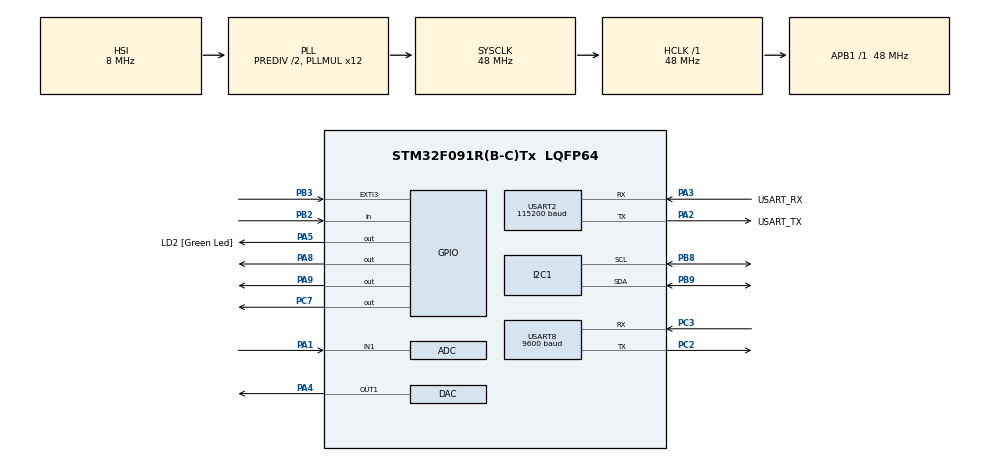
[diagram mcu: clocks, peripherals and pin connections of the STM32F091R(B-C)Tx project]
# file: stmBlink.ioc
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DAC.DAC_OutputBuffer=DAC_OUTPUTBUFFER_DISABLE
DAC.DAC_Trigger=DAC_TRIGGER_T6_TRGO
Dma.DAC_CH1.0.Direction=DMA_MEMORY_TO_PERIPH
Dma.DAC_CH1.0.Instance=DMA1_Channel3
Dma.DAC_CH1.0.MemDataAlignment=DMA_MDATAALIGN_WORD
Dma.DAC_CH1.0.MemInc=DMA_MINC_ENABLE
Dma.DAC_CH1.0.Mode=DMA_NORMAL
Dma.DAC_CH1.0.PeriphDataAlignment=DMA_PDATAALIGN_WORD
Dma.DAC_CH1.0.PeriphInc=DMA_PINC_DISABLE
Dma.DAC_CH1.0.Priority=DMA_PRIORITY_LOW
Dma.Request0=DAC_CH1
I2C1.Timing=0x00201D2B
Mcu.Family=STM32F0
Mcu.Name=STM32F091R(B-C)Tx
Mcu.Package=LQFP64
NVIC.ADC1_COMP_IRQn=true\:0\:0\:false\:false\:true\:true\:true\:true
NVIC.DMA1_Ch2_3_DMA2_Ch1_2_IRQn=true\:0\:0\:false\:false\:true\:false\:true\:true
NVIC.EXTI2_3_IRQn=true\:0\:0\:false\:false\:true\:true\:true\:true
NVIC.I2C1_IRQn=true\:0\:0\:false\:false\:true\:true\:true\:true
NVIC.RTC_IRQn=true\:0\:0\:false\:false\:true\:true\:true\:true
NVIC.TIM14_IRQn=true\:0\:0\:false\:false\:true\:true\:true\:true
NVIC.TIM3_IRQn=true\:0\:0\:false\:false\:true\:true\:true\:true
NVIC.TIM6_DAC_IRQn=true\:0\:0\:false\:false\:true\:true\:true\:true
NVIC.TIM7_IRQn=true\:0\:0\:false\:false\:true\:true\:true\:true
NVIC.USART3_8_IRQn=true\:0\:0\:false\:false\:true\:true\:true\:true
PA0.Mode=SYS_WakeUp0
PA0.Signal=SYS_WKUP1
PA1.Mode=IN1
PA1.Signal=ADC_IN1
PA13.GPIO_Label=TMS
PA13.Mode=Serial_Wire
PA13.Signal=SYS_SWDIO
PA14.GPIO_Label=TCK
PA14.Mode=Serial_Wire
PA14.Signal=SYS_SWCLK
PA2.GPIO_Label=USART_TX
PA2.GPIO_Mode=GPIO_MODE_AF_PP
PA2.GPIO_PuPd=GPIO_NOPULL
PA2.GPIO_Speed=GPIO_SPEED_FREQ_LOW
PA2.Mode=Asynchronous
PA2.Signal=USART2_TX
PA3.GPIO_Label=USART_RX
PA3.GPIO_Mode=GPIO_MODE_AF_PP
PA3.GPIO_PuPd=GPIO_NOPULL
PA3.GPIO_Speed=GPIO_SPEED_FREQ_LOW
PA3.Mode=Asynchronous
PA3.Signal=USART2_RX
PA4.Signal=COMP_DAC1_group
PA5.GPIO_Label=LD2 [Green Led]
PA5.GPIO_Mode=GPIO_MODE_OUTPUT_PP
PA5.GPIO_PuPd=GPIO_NOPULL
PA5.GPIO_Speed=GPIO_SPEED_FREQ_LOW
PA5.Signal=GPIO_Output
PA8.Signal=GPIO_Output
PA9.Signal=GPIO_Output
PB1.Signal=S_TIM14_CH1
PB2.Signal=GPIO_Input
PB3.GPIO_ModeDefaultEXTI=GPIO_MODE_IT_FALLING
PB3.Signal=GPXTI3
PB8.Mode=I2C
PB8.Signal=I2C1_SCL
PB9.Mode=I2C
PB9.Signal=I2C1_SDA
PC13.Signal=RTC_OUT_ALARM
PC14OSC32_IN.Mode=LSE-External-Oscillator
PC14OSC32_IN.Signal=RCC_OSC32_IN
PC15OSC32_OUT.Mode=LSE-External-Oscillator
PC15OSC32_OUT.Signal=RCC_OSC32_OUT
PC2.Mode=Asynchronous
PC2.Signal=USART8_TX
PC3.Mode=Asynchronous
PC3.Signal=USART8_RX
PC7.Signal=GPIO_Output
PF0-OSC_IN.Mode=HSE-External-Clock-Source
PF0-OSC_IN.Signal=RCC_OSC_IN
PF1-OSC_OUT.Signal=RCC_OSC_OUT
ProjectManager.HeapSize=0x200
ProjectManager.StackSize=0x400
ProjectManager.TargetToolchain=STM32CubeIDE
RCC.AHBFreq_Value=48000000
RCC.APB1Freq_Value=48000000
RCC.APB1TimFreq_Value=48000000
RCC.FLatency-AdvancedSettings=FLASH_LATENCY_1
RCC.HCLKFreq_Value=48000000
RCC.PLLDivider=RCC_PREDIV_DIV2
RCC.PLLMUL=RCC_PLL_MUL12
RCC.PREFETCH_ENABLE-AdvancedSettings=1
RCC.SYSCLKFreq_VALUE=48000000
RCC.SYSCLKSource=RCC_SYSCLKSOURCE_PLLCLK
RCC.Usart2ClockSelection=RCC_USART2CLKSOURCE_SYSCLK
RTC.Alarm-Alarm\ A=RTC_ALARM_A
RTC.AlarmMaskDateWeekDay-Alarm\ A=RTC_ALARMMASK_DATEWEEKDAY
RTC.AlarmMaskHours-Alarm\ A=RTC_ALARMMASK_HOURS
RTC.AlarmMaskMinutes-Alarm\ A=RTC_ALARMMASK_MINUTES
RTC.Format=RTC_FORMAT_BIN
RTC.Seconds_A-Alarm\ A=10
SH.COMP_DAC1_group.0=DAC_OUT1,DAC_OUT1
SH.S_TIM14_CH1.0=TIM14_CH1
TIM14.Period=200
TIM3.Period=65535
TIM3.Prescaler=58
TIM6.Period=1
TIM6.Prescaler=625
TIM6.TIM_MasterOutputTrigger=TIM_TRGO_UPDATE
TIM7.Period=40000
USART2.BaudRate=115200
USART2.VirtualMode=VM_ASYNC
USART2.VirtualMode-Asynchronous=VM_ASYNC
USART8.BaudRate=9600
USART8.VirtualMode=VM_ASYNC
VP_RTC_VS_RTC_Activate.Mode=RTC_Enabled
VP_RTC_VS_RTC_Alarm_A_Intern.Mode=Alarm A
VP_RTC_VS_RTC_Calendar.Mode=RTC_Calendar
VP_TIM14_VS_ClockSourceINT.Mode=Enable_Timer
VP_TIM3_VS_ClockSourceINT.Mode=Internal
VP_TIM6_VS_ClockSourceINT.Mode=Enable_Timer
VP_TIM7_VS_ClockSourceINT.Mode=Enable_Timer
board=NUCLEO-F091RC

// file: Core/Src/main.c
/* USER CODE BEGIN Header */
/**
 ******************************************************************************
 * @file           : main.c
 * @brief          : Main program body
 ******************************************************************************
 * @attention
 *
 * Copyright (c) 2024 STMicroelectronics.
 * All rights reserved.
 *
 * This software is licensed under terms that can be found in the LICENSE file
 * in the root directory of this software component.
 * If no LICENSE file comes with this software, it is provided AS-IS.
 *
 ******************************************************************************
 */
/* USER CODE END Header */
#include "main.h"
#include "adc.h"
#include "dac.h"
#include "dma.h"
#include "i2c.h"
#include "rtc.h"
#include "tim.h"
#include "usart.h"
#include "gpio.h"

/* USER CODE BEGIN Includes */
#include "gpio.h"
#include <stdio.h>
#include <string.h>
#include <math.h>
#include <stdlib.h>
//#include "wavetable.h"
/* USER CODE END Includes */

/* USER CODE BEGIN PTD */
typedef enum {
	INIT,
	TRIGGER_MEASUREMENT,
	WAIT_FOR_MEASUREMENT,
	READ_DATA,
	PROCESS_DATA,
	PAUSE,
	IDLE
} State;

State currentState = INIT;

/* USER CODE END PTD */

/* USER CODE BEGIN PD */
#define AHT20_ADDR 0x38 << 1 // AHT20 I2C address (shifted for HAL compatibility)
#define AHT20_DATA_SIZE 6
#define AHT20_STATE_SIZE 1
#define AHT20_Power_ON_Delay_Prescale 72
#define AHT20_Init_Delay_Prescale 7
#define AHT20_Trigger_Measurement_Prescale 58
#define DAC_BUFFER_SIZE 128
/* USER CODE END PD */

/* USER CODE BEGIN PV */

uint8_t data[AHT20_DATA_SIZE];
uint8_t state[AHT20_STATE_SIZE];
volatile uint32_t adcValue = 0;
float temperature, humidity;
int flag = 0;
char rx_buf[22];
char i2c_buf[32];
char buf[5];
char handshakeCmd[] = "AT+DMOCONNECT\r\n";
char configCmd[] = "AT+DMOSETGROUP=0,144.1100,144.1100,0000,4,0000\r\n";
char scanCmd[] = "S+152.1250\r\n";
char setFilter[] = "AT+SETFILTER=0,0,0\r\n";
char expectedResponse[17] = "+DMOCONNECT:0\r\n\0";
char response[17]; // Buffer to store the response
int t_flag = 0;

const uint32_t sine_wave_array[32] = { 2047, 1648, 1264, 910, 600, 345, 156, 39,
		0, 39, 156, 345, 600, 910, 1264, 1648, 2048, 2447, 2831, 3185, 3495,
		3750, 3939, 4056, 4095, 4056, 3939, 3750, 3495, 3185, 2831, 2447 };

int input[] = { 1, 1, 1, 0, 1, 0, 1, 0, 1, 0, 1, 0, 1, 0, 1, 0, 1, 0 };
int i = 0;

/* USER CODE END PV */

void SystemClock_Config(void);
/* USER CODE BEGIN PFP */
static void DRA818V_Init(void);
static void AHT20_Init(void);
static void AHT20_triggerMeasurement(void);
static void AHT20_recieveData(void);
static int AHT20_measurementStatus(void);
static int AHT20_aprsConvert(void);
static void enterSleepMode(void);
static void enterTimedSleep(TIM_HandleTypeDef *htim);
static void transmitMessage(const char *msg);
static void configureTimer(TIM_HandleTypeDef *htim, uint32_t prescaler);

/* USER CODE END PFP */

int main(void)
{

  /* MCU Configuration--------------------------------------------------------*/

  /* Reset of all peripherals, Initializes the Flash interface and the Systick. */
  HAL_Init();

  /* Configure the system clock */
  SystemClock_Config();

  /* Initialize all configured peripherals */
  MX_GPIO_Init();
  MX_DMA_Init();
  MX_USART2_UART_Init();
  MX_ADC_Init();
  MX_I2C1_Init();
  MX_TIM3_Init();
  MX_RTC_Init();
  MX_DAC_Init();
  MX_TIM6_Init();
  MX_USART8_UART_Init();
  MX_TIM14_Init();
  MX_TIM7_Init();

  /* Infinite loop */
  /* USER CODE BEGIN WHILE */

	MX_GPIO_Init();
	MX_USART2_UART_Init();
	MX_ADC_Init();
	MX_I2C1_Init();
	MX_TIM3_Init();
	/* USER CODE BEGIN 2 */

	/* USER CODE END 2 */
	//transmitMessage("\n-----------------------------------\n\r");
	//transmitMessage("Checking Initial Voltage level...\n\r");
	//transmitMessage("-----------------------------------\n\n\r");
	HAL_ADC_Start_IT(&hadc);
	//transmitMessage("Voltage Level = ");
	//sprintf(buf,"%lu\n\r", adcValue);
	//HAL_UART_Transmit(&huart2, (uint8_t*)buf, strlen(buf), 1000);

	//transmitMessage("\n-----------------------------------\n\r");
	//transmitMessage("BEGIN SENSOR FSM\n\r");
	//transmitMessage("-----------------------------------\n\n\r");

	/* Infinite loop */
	/* USER CODE BEGIN WHILE */

	while (1) {
		switch (currentState) {
		case INIT:
			// transmitMessage("Current State: INIT\n\r");

			AHT20_Init();
			currentState = TRIGGER_MEASUREMENT;
			break;

		case TRIGGER_MEASUREMENT:

			// transmitMessage("Current State: TRIGGER_MEASURMENT\n\r");
			HAL_RTC_DeactivateAlarm(&hrtc, RTC_ALARM_A);

			AHT20_triggerMeasurement();

			currentState = WAIT_FOR_MEASUREMENT;
			break;

		case WAIT_FOR_MEASUREMENT:

			// transmitMessage("Current State: WAIT_FOR_MEASUREMENT\n\r");

			if (!AHT20_measurementStatus()) {
				currentState = READ_DATA;
			}
			break;

		case READ_DATA:

			//transmitMessage("Current State: READ_DATA\n\r");

			AHT20_recieveData();
			currentState = PROCESS_DATA;
			break;

		case PROCESS_DATA:

			//transmitMessage("Current State: PROCESS_DATA\n\r");

			if (!AHT20_aprsConvert()) {
				currentState = PAUSE;
			}
			break;

		case PAUSE:

			//transmitMessage("Current State: PAUSE\n\r");
			//transmitMessage("Button Press will change states.\n\r");

			// DRA818V_Init();

			HAL_TIM_Base_Start(&htim6);
			HAL_DAC_Start_DMA(&hdac, DAC_CHANNEL_1, (uint32_t*) sine_wave_array,
					32, DAC_ALIGN_12B_R);

			//HAL_DAC_Start(&hdac, DAC_CHANNEL_1);
			//HAL_TIM_Base_Start_IT(&htim14);

			while (1) {

				//transmitMessage("Begin APRS transmission\r\n");

				while (i < 18) {

					HAL_TIM_Base_Start_IT(&htim7);
					while (flag == 0) {
						asm("nop");
						//do nothing
					}

					i++;

					flag = 0;

				}

				HAL_DAC_Stop_DMA(&hdac, DAC_CHANNEL_1);
				i = 0;
				transmitMessage("DMA off\r\n");
				HAL_Delay(1000);
				HAL_DAC_Start_DMA(&hdac, DAC_CHANNEL_1,
						(uint32_t*) sine_wave_array, 32, DAC_ALIGN_12B_R);
				/* transmitMessage("PTT off\r\n");
				 HAL_GPIO_WritePin(GPIOC, GPIO_PIN_7, GPIO_PIN_SET);
				 HAL_DAC_Stop(&hdac, DAC_CHANNEL_1);
				 HAL_Delay(1000);
				 transmitMessage("PTT on\r\n");
				 HAL_DAC_Start_DMA(&hdac, DAC_CHANNEL_1, (uint32_t*)sine_wave_array, 32, DAC_ALIGN_12B_R);

				 //HAL_GPIO_WritePin(GPIOC, GPIO_PIN_7, GPIO_PIN_RESET);
				 HAL_Delay(500);
				 */
			}

			enterSleepMode();

			currentState = IDLE;

			break;

		case IDLE:

			transmitMessage("Current State: IDLE\n\r");
			MX_RTC_Init();
			transmitMessage("\n-----------------------------------\n\r");
			transmitMessage("\n***********  ATTENTION!  **********\n\r");
			transmitMessage("\nDevice in IDLE will enter standby!\n\r");
			transmitMessage("Button Press will change states.\n\r");
			transmitMessage("\n-----------------------------------\n\n\r");
			enterSleepMode();

			currentState = TRIGGER_MEASUREMENT;

			break;

		default:

			//transmitMessage("Current State: UNHANDLED\n\r");
			enterSleepMode();

			break;
		}

    /* USER CODE END WHILE */

	}
}

void SystemClock_Config(void)
{
  RCC_OscInitTypeDef RCC_OscInitStruct = {0};
  RCC_ClkInitTypeDef RCC_ClkInitStruct = {0};
  RCC_PeriphCLKInitTypeDef PeriphClkInit = {0};

  /** Initializes the RCC Oscillators according to the specified parameters
  * in the RCC_OscInitTypeDef structure.
  */
  RCC_OscInitStruct.OscillatorType = RCC_OSCILLATORTYPE_HSI|RCC_OSCILLATORTYPE_HSI14
                              |RCC_OSCILLATORTYPE_LSI;
  RCC_OscInitStruct.HSIState = RCC_HSI_ON;
  RCC_OscInitStruct.HSI14State = RCC_HSI14_ON;
  RCC_OscInitStruct.HSICalibrationValue = RCC_HSICALIBRATION_DEFAULT;
  RCC_OscInitStruct.HSI14CalibrationValue = 16;
  RCC_OscInitStruct.LSIState = RCC_LSI_ON;
  RCC_OscInitStruct.PLL.PLLState = RCC_PLL_ON;
  RCC_OscInitStruct.PLL.PLLSource = RCC_PLLSOURCE_HSI;
  RCC_OscInitStruct.PLL.PLLMUL = RCC_PLL_MUL12;
  RCC_OscInitStruct.PLL.PREDIV = RCC_PREDIV_DIV2;
  if (HAL_RCC_OscConfig(&RCC_OscInitStruct) != HAL_OK)
  {
    Error_Handler();
  }

  /** Initializes the CPU, AHB and APB buses clocks
  */
  RCC_ClkInitStruct.ClockType = RCC_CLOCKTYPE_HCLK|RCC_CLOCKTYPE_SYSCLK
                              |RCC_CLOCKTYPE_PCLK1;
  RCC_ClkInitStruct.SYSCLKSource = RCC_SYSCLKSOURCE_PLLCLK;
  RCC_ClkInitStruct.AHBCLKDivider = RCC_SYSCLK_DIV1;
  RCC_ClkInitStruct.APB1CLKDivider = RCC_HCLK_DIV1;

  if (HAL_RCC_ClockConfig(&RCC_ClkInitStruct, FLASH_LATENCY_1) != HAL_OK)
  {
    Error_Handler();
  }
  PeriphClkInit.PeriphClockSelection = RCC_PERIPHCLK_USART2|RCC_PERIPHCLK_I2C1
                              |RCC_PERIPHCLK_RTC;
  PeriphClkInit.Usart2ClockSelection = RCC_USART2CLKSOURCE_SYSCLK;
  PeriphClkInit.I2c1ClockSelection = RCC_I2C1CLKSOURCE_HSI;
  PeriphClkInit.RTCClockSelection = RCC_RTCCLKSOURCE_LSI;
  if (HAL_RCCEx_PeriphCLKConfig(&PeriphClkInit) != HAL_OK)
  {
    Error_Handler();
  }
}

/* USER CODE BEGIN 4 */
/* USER CODE BEGIN 4 */
void HAL_UART_TxCpltCallback(UART_HandleTypeDef *huart) {

}

//Timer interrupt callback function
void HAL_TIM_PeriodElapsedCallback(TIM_HandleTypeDef *htim) {

	if (htim->Instance == TIM7) {

		flag = 1;
	}

}

void HAL_DAC_ConvCpltCallbackCh1(DAC_HandleTypeDef *hdac) {

	if (input[i] == 0) {
		// Stop the timer
		//HAL_TIM_Base_Stop(&htim6);

		// Set the new prescaler value
		__HAL_TIM_SET_PRESCALER(&htim6, 341);

		// Restart the timer
		//HAL_TIM_Base_Start(&htim6);
	} else {
		// Stop the timer
		// HAL_TIM_Base_Stop(&htim6);

		// Set the new prescaler value
		__HAL_TIM_SET_PRESCALER(&htim6, 625);

		// Restart the timer
		// HAL_TIM_Base_Start(&htim6);
	}

	HAL_DAC_Start_DMA(hdac, DAC_CHANNEL_1, (uint32_t*) sine_wave_array, 32,
			DAC_ALIGN_12B_R);

}

//Initialize DRA818V

static void DRA818V_Init(void) {

	// Assuming rx_buf is an array with a fixed size

	HAL_GPIO_WritePin(GPIOA, GPIO_PIN_9, GPIO_PIN_SET);
	HAL_GPIO_WritePin(GPIOC, GPIO_PIN_7, GPIO_PIN_SET);
	//HAL_GPIO_WritePin(GPIOA, GPIO_PIN_8, GPIO_PIN_SET);

	while (1) {
		memset(response, 0, sizeof(response));
		HAL_UART_Transmit(&huart8, (uint8_t*) handshakeCmd,
				sizeof(handshakeCmd), 1000);
		HAL_Delay(10);
		// Receive response

		HAL_UART_Receive(&huart8, (uint8_t*) response, sizeof(response), 1000);

		HAL_Delay(10);

		HAL_UART_Transmit(&huart2, (uint8_t*) response, sizeof(response), 1000);

		t_flag = strcmp(response, expectedResponse);
		if (!t_flag) {
			break;
		} else {

		}

	}

	memset(response, 0, sizeof(response));
	transmitMessage("Scanning 144.390....\r\n");
	HAL_UART_Transmit(&huart8, (uint8_t*) scanCmd, sizeof(scanCmd), 1000);
	HAL_Delay(10);
	HAL_UART_Receive(&huart8, (uint8_t*) response, sizeof(response), 1000);
	HAL_UART_Transmit(&huart2, (uint8_t*) response, sizeof(response), 1000);

	memset(response, 0, sizeof(response));
	// Send group setting command

	transmitMessage("AT+DMOSETGROUP=0,144.390,144.390,0000,4,0000\r\n");
	HAL_UART_Transmit(&huart8, (uint8_t*) configCmd, sizeof(configCmd), 1000);
	HAL_Delay(10);
	HAL_UART_Receive(&huart8, (uint8_t*) response, sizeof(response), 1000);
	// HAL_Delay(10);
	HAL_UART_Transmit(&huart2, (uint8_t*) response, sizeof(response), 1000);

	transmitMessage("AT+SETFILTER=0,0,0\r\n");
	HAL_UART_Transmit(&huart8, (uint8_t*) setFilter, sizeof(setFilter), 1000);
	HAL_Delay(10);
	HAL_UART_Receive(&huart8, (uint8_t*) response, sizeof(response), 1000);
	// HAL_Delay(10);
	HAL_UART_Transmit(&huart2, (uint8_t*) response, sizeof(response), 1000);

	//HAL_GPIO_WritePin(GPIOC, GPIO_PIN_7, GPIO_PIN_RESET);

}

// Initialize the AHT20 sensor
static void AHT20_Init(void) {

	uint8_t initCmd[] = { 0xBE, 0x08, 0x00 }; // Initialization command
	transmitMessage("Entering Sleep for 100ms\n\r");
	configureTimer(&htim3, AHT20_Power_ON_Delay_Prescale);
	enterTimedSleep(&htim3);

	HAL_I2C_Master_Transmit_IT(&hi2c1, AHT20_ADDR, initCmd, sizeof(initCmd));

	configureTimer(&htim3, AHT20_Init_Delay_Prescale);
	enterTimedSleep(&htim3);

	transmitMessage("INIT COMPLETE\n\r");
}

// Trigger a measurement on the AHT20 sensor
static void AHT20_triggerMeasurement(void) {

	uint8_t triggerCmd[] = { 0xAC, 0x33, 0x00 }; // Trigger measurement command

	HAL_I2C_Master_Transmit_IT(&hi2c1, AHT20_ADDR, triggerCmd,
			sizeof(triggerCmd));
}

// Receive data from the AHT20 sensortriangle wave generation stm32f09 hal
static void AHT20_recieveData(void) {
	HAL_I2C_Master_Receive_IT(&hi2c1, AHT20_ADDR, data, AHT20_DATA_SIZE);
}

// Check the measurement status of the AHT20 sensor
static int AHT20_measurementStatus(void) {

	transmitMessage("Entering Sleep for 80ms\n\r");

	configureTimer(&htim3, AHT20_Trigger_Measurement_Prescale);

	enterTimedSleep(&htim3);

	return 0;
}

// Convert the raw data from AHT20 into applicable units
static int AHT20_aprsConvert(void) {
	uint32_t hum = (data[1] << 12) | (data[2] << 4) | (data[3] >> 4);
	uint32_t temp = ((data[3] & 0x0F) << 16) | (data[4] << 8) | data[5];

	// Convert to actual values
	humidity = hum * 100.0 / 0x100000;
	temperature = temp * 200.0 / 0x100000 - 50;

	transmitMessage("\n-----------------------------------\n\r");
	transmitMessage("%Humidity = ");
	sprintf(i2c_buf, "%f\r\n", humidity); // Convert float to string and store in buffer
	HAL_UART_Transmit(&huart2, (uint8_t*) i2c_buf, strlen(i2c_buf), 1000);
	transmitMessage("Temperature C = ");
	sprintf(i2c_buf, "%f\r\n", temperature); // Convert float to string and store in buffer
	HAL_UART_Transmit(&huart2, (uint8_t*) i2c_buf, strlen(i2c_buf), 1000);
	transmitMessage("-----------------------------------\n\n\r");
	return 0;
}

void transmitMessage(const char *message) {
	HAL_UART_Transmit(&huart2, (uint8_t*) message, strlen(message), 1000);
}

void configureTimer(TIM_HandleTypeDef *htim, uint32_t prescaler) {
	__HAL_TIM_DISABLE(htim);
	__HAL_TIM_SET_PRESCALER(htim, prescaler);
	HAL_TIM_Base_Init(htim);
	__HAL_TIM_ENABLE(htim);
}

void enterSleepMode(void) {
	transmitMessage("Entering Sleep Mode\n\r");
	HAL_SuspendTick();
	HAL_PWR_EnterSLEEPMode(PWR_MAINREGULATOR_ON, PWR_SLEEPENTRY_WFI);
	HAL_ResumeTick();
	transmitMessage("Exiting Sleep Mode\n\r");
}

void enterTimedSleep(TIM_HandleTypeDef *htim) {
	HAL_TIM_Base_Start_IT(htim);

	HAL_SuspendTick();
	/* Request to enter SLEEP mode */
	HAL_PWR_EnterSLEEPMode(PWR_MAINREGULATOR_ON, PWR_SLEEPENTRY_WFI);
	/* Resume Tick interrupt if disabled prior to sleep mode entry */
	HAL_ResumeTick();

	HAL_TIM_Base_Stop_IT(htim);
}

void HAL_ADC_ConvCpltCallback(ADC_HandleTypeDef *hadc) {
	if (hadc->Instance == ADC1) {

		adcValue = HAL_ADC_GetValue(hadc);
		transmitMessage("ADC Conversion Complete\n\r");

	}
}

void HAL_I2C_MasterTxCpltCallback(I2C_HandleTypeDef *hi2c1) {

	if (hi2c1->Instance == I2C1) {

	}

}

/* USER CODE BEGIN 4 */
void HAL_RTC_AlarmAEventCallback(RTC_HandleTypeDef *hrtc) {
	RTC_AlarmTypeDef sAlarm;
	HAL_RTC_GetAlarm(hrtc, &sAlarm, RTC_ALARM_A, FORMAT_BIN);
	if (sAlarm.AlarmTime.Seconds > 58) {
		sAlarm.AlarmTime.Seconds = 10;
	} else {
		sAlarm.AlarmTime.Seconds = sAlarm.AlarmTime.Seconds + 10;
	}
	while (HAL_RTC_SetAlarm_IT(hrtc, &sAlarm, FORMAT_BIN) != HAL_OK) {
	}

	if (currentState == IDLE) {
		// Clear the Wake-up flag
		__HAL_PWR_CLEAR_FLAG(PWR_FLAG_WU);
		transmitMessage("Entering Standby Mode\n\r");
		// Enter Standby mode
		HAL_PWR_EnterSTANDBYMode();
	}

}
/* USER CODE END 4 */

void Error_Handler(void)
{
	__disable_irq();
	while (1) {
	}
}
